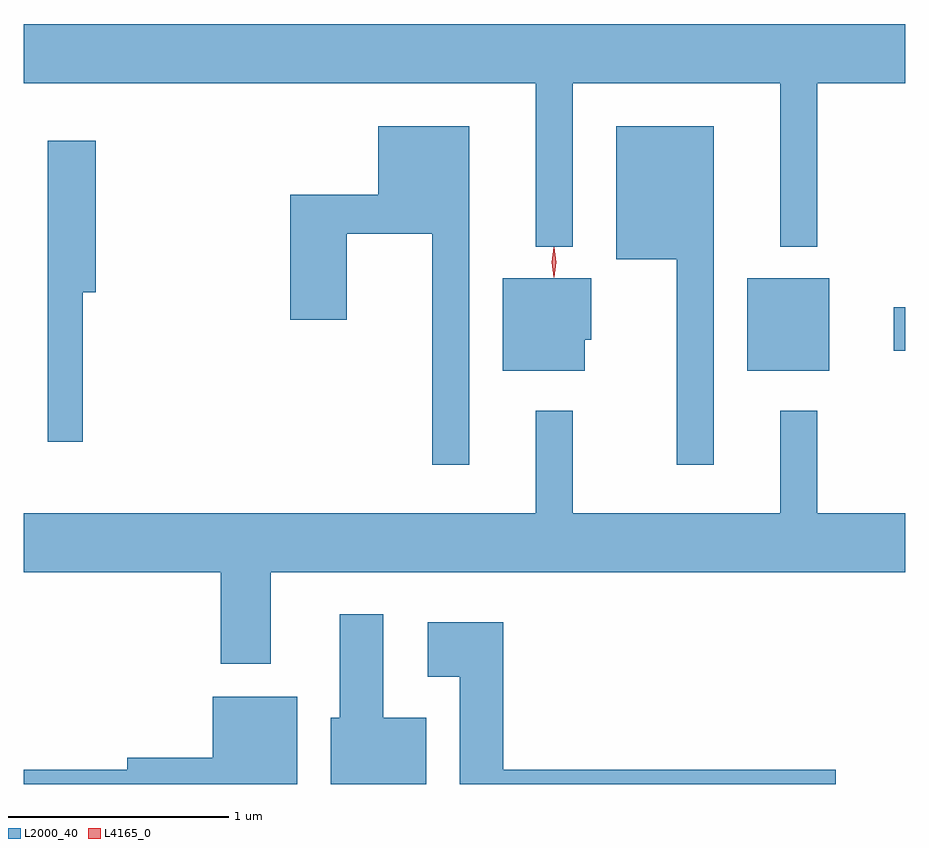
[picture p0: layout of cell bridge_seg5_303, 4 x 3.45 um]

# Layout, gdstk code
import gdstk
lib = gdstk.Library(unit=1e-6, precision=1e-09)
def R(c, l, rs):  # rectangles x0, y0, x1, y1
    for r in rs: c.add(gdstk.rectangle(r[:2], r[2:], *l))
def P(c, l, *ps):  # polygons
    for p in ps: c.add(gdstk.Polygon(p, *l))
L2000_40 = (2000, 40)
L4165_0 = (4165, 0)

bridge_seg5_303 = lib.new_cell('bridge_seg5_303')
R(bridge_seg5_303, L2000_40, [(668.001,1504.331,668.374,1504.749), (668.666,1504.421,668.718,1504.619)])
P(bridge_seg5_303, L2000_40, [(667.209,1505.636),(668.151,1505.636),(668.151,1504.893),(668.319,1504.893),(668.319,1505.636),(668.718,1505.636),(668.718,1505.904),(664.718,1505.904),(664.718,1505.636),(667.041,1505.636),(667.041,1504.893),(667.209,1504.893)],
  [(667.849,1505.439),(667.406,1505.439),(667.406,1504.836),(667.681,1504.836),(667.681,1503.903),(667.849,1503.903)],
  [(666.739,1505.439),(666.326,1505.439),(666.326,1505.129),(665.926,1505.129),(665.926,1504.561),(666.184,1504.561),(666.184,1504.951),(666.571,1504.951),(666.571,1503.903),(666.739,1503.903)],
  [(664.984,1504.686),(665.044,1504.686),(665.044,1505.374),(664.826,1505.374),(664.826,1504.008),(664.984,1504.008)],
  [(667.264,1504.471),(667.294,1504.471),(667.294,1504.749),(666.891,1504.749),(666.891,1504.331),(667.264,1504.331)],
  [(665.839,1503.416),(668.718,1503.416),(668.718,1503.684),(668.319,1503.684),(668.319,1504.148),(668.151,1504.148),(668.151,1503.684),(667.209,1503.684),(667.209,1504.148),(667.041,1504.148),(667.041,1503.684),(664.718,1503.684),(664.718,1503.416),(665.611,1503.416),(665.611,1503.001),(665.839,1503.001)],
  [(666.544,1502.754),(666.349,1502.754),(666.349,1503.224),(666.151,1503.224),(666.151,1502.754),(666.111,1502.754),(666.111,1502.454),(666.544,1502.454)],
  [(668.404,1502.519),(666.894,1502.519),(666.894,1503.189),(666.551,1503.189),(666.551,1502.941),(666.696,1502.941),(666.696,1502.454),(668.404,1502.454)],
  [(665.959,1502.849),(665.576,1502.849),(665.576,1502.574),(665.186,1502.574),(665.186,1502.519),(664.718,1502.519),(664.718,1502.454),(665.959,1502.454)])
P(bridge_seg5_303, L4165_0, [(667.124,1504.754),(667.115,1504.822),(667.124,1504.89),(667.125,1504.89),(667.125,1504.89),(667.135,1504.822),(667.125,1504.754),(667.125,1504.754)],
  [(667.124,1504.759),(667.124,1504.759),(667.114,1504.823),(667.124,1504.887),(667.124,1504.887),(667.125,1504.887),(667.134,1504.823),(667.125,1504.759)])

lib.write_gds('bridge_seg5_303.gds')
